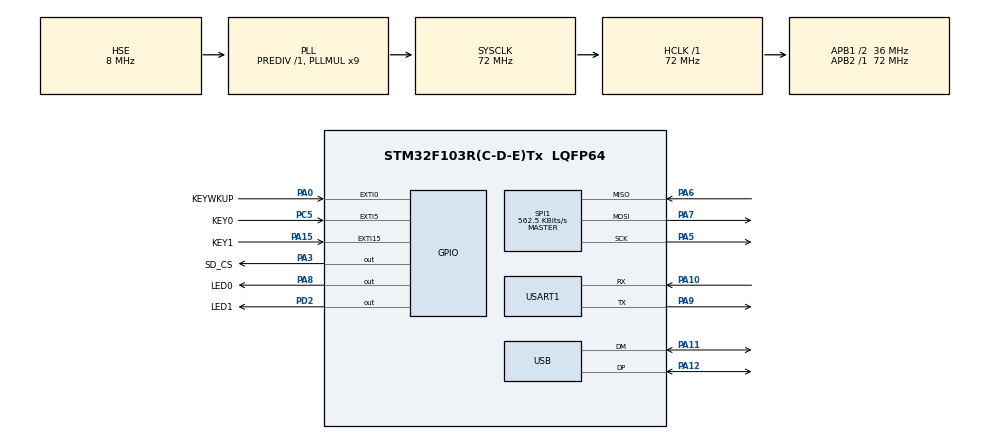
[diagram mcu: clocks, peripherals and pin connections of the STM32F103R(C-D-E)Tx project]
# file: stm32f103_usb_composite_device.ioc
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FATFS._MAX_LFN=96
FATFS._MAX_SS=2048
FATFS._MIN_SS=512
FATFS._USE_LFN=2
FATFS._USE_TRIM=1
Mcu.Family=STM32F1
Mcu.Name=STM32F103R(C-D-E)Tx
Mcu.Package=LQFP64
NVIC.EXTI0_IRQn=true\:0\:0\:false\:false\:true\:true\:true
NVIC.EXTI15_10_IRQn=true\:0\:0\:false\:false\:true\:true\:true
NVIC.EXTI9_5_IRQn=true\:0\:0\:false\:false\:true\:true\:true
NVIC.PriorityGroup=NVIC_PRIORITYGROUP_4
NVIC.TIM4_IRQn=true\:0\:0\:false\:false\:true\:true\:true
NVIC.USB_LP_CAN1_RX0_IRQn=true\:0\:0\:false\:false\:true\:false\:true
PA0-WKUP.GPIO_Label=KEYWKUP
PA0-WKUP.GPIO_ModeDefaultEXTI=GPIO_MODE_IT_RISING_FALLING
PA0-WKUP.GPIO_PuPd=GPIO_PULLDOWN
PA0-WKUP.Signal=GPXTI0
PA10.Mode=Asynchronous
PA10.Signal=USART1_RX
PA11.Mode=Device
PA11.Signal=USB_DM
PA12.Mode=Device
PA12.Signal=USB_DP
PA13.Mode=Serial_Wire
PA13.Signal=SYS_JTMS-SWDIO
PA14.Mode=Serial_Wire
PA14.Signal=SYS_JTCK-SWCLK
PA15.GPIO_Label=KEY1
PA15.GPIO_ModeDefaultEXTI=GPIO_MODE_IT_RISING_FALLING
PA15.GPIO_PuPd=GPIO_PULLUP
PA15.Signal=GPXTI15
PA3.GPIO_Label=SD_CS
PA3.Signal=GPIO_Output
PA5.Mode=Full_Duplex_Master
PA5.Signal=SPI1_SCK
PA6.Mode=Full_Duplex_Master
PA6.Signal=SPI1_MISO
PA7.Mode=Full_Duplex_Master
PA7.Signal=SPI1_MOSI
PA8.GPIO_Label=LED0
PA8.GPIO_ModeDefaultOutputPP=GPIO_MODE_OUTPUT_PP
PA8.GPIO_PuPd=GPIO_NOPULL
PA8.PinState=GPIO_PIN_SET
PA8.Signal=GPIO_Output
PA9.Mode=Asynchronous
PA9.Signal=USART1_TX
PC5.GPIO_Label=KEY0
PC5.GPIO_ModeDefaultEXTI=GPIO_MODE_IT_RISING_FALLING
PC5.GPIO_PuPd=GPIO_PULLUP
PC5.Signal=GPXTI5
PD0-OSC_IN.Mode=HSE-External-Oscillator
PD0-OSC_IN.Signal=RCC_OSC_IN
PD1-OSC_OUT.Mode=HSE-External-Oscillator
PD1-OSC_OUT.Signal=RCC_OSC_OUT
PD2.GPIO_Label=LED1
PD2.GPIO_ModeDefaultOutputPP=GPIO_MODE_OUTPUT_PP
PD2.PinState=GPIO_PIN_SET
PD2.Signal=GPIO_Output
ProjectManager.HeapSize=0x200
ProjectManager.StackSize=0x400
ProjectManager.TargetToolchain=STM32CubeIDE
RCC.AHBFreq_Value=72000000
RCC.APB1CLKDivider=RCC_HCLK_DIV2
RCC.APB1Freq_Value=36000000
RCC.APB1TimFreq_Value=72000000
RCC.APB2Freq_Value=72000000
RCC.APB2TimFreq_Value=72000000
RCC.HCLKFreq_Value=72000000
RCC.PLLMUL=RCC_PLL_MUL9
RCC.SYSCLKFreq_VALUE=72000000
RCC.SYSCLKSource=RCC_SYSCLKSOURCE_PLLCLK
RCC.USBFreq_Value=48000000
RCC.USBPrescaler=RCC_USBCLKSOURCE_PLL_DIV1_5
SPI1.BaudRatePrescaler=SPI_BAUDRATEPRESCALER_128
SPI1.CalculateBaudRate=562.5 KBits/s
SPI1.Direction=SPI_DIRECTION_2LINES
SPI1.Mode=SPI_MODE_MASTER
SPI1.VirtualType=VM_MASTER
TIM4.ClockDivision=TIM_CLOCKDIVISION_DIV1
TIM4.Period=999
TIM4.Prescaler=71
USART1.VirtualMode=VM_ASYNC
USB_DEVICE.CLASS_NAME_FS=CUSTOM_HID
USB_DEVICE.USBD_CUSTOMHID_OUTREPORT_BUF_SIZE=32
USB_DEVICE.USBD_CUSTOM_HID_REPORT_DESC_SIZE=39
USB_DEVICE.VirtualMode=CustomHid
USB_DEVICE.VirtualModeFS=Custom_Hid_FS
VP_FATFS_VS_Generic.Mode=User_defined
VP_TIM4_VS_ClockSourceINT.Mode=Internal
VP_USB_DEVICE_VS_USB_DEVICE_CUSTOM_HID_FS.Mode=CUSTOM_HID_FS
board=custom

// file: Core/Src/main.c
/* USER CODE BEGIN Header */
/**
  ******************************************************************************
  * @file           : main.c
  * @brief          : Main program body
  ******************************************************************************
  * @attention
  *
  * Copyright (c) 2022 STMicroelectronics.
  * All rights reserved.
  *
  * This software is licensed under terms that can be found in the LICENSE file
  * in the root directory of this software component.
  * If no LICENSE file comes with this software, it is provided AS-IS.
  *
  ******************************************************************************
  */
/* USER CODE END Header */
#include "main.h"
#include "fatfs.h"
#include "usb_device.h"

/* USER CODE BEGIN Includes */
#include <stdbool.h>
#include <stdio.h>
#include <stm32_printf.h>
//#include "usbd_cdc_if.h"
#include "usbd_storage_if.h"

#include "usbd_custom_hid_if.h"
#include "app_fatfs_utility.h"
/* USER CODE END Includes */

SPI_HandleTypeDef hspi1;

TIM_HandleTypeDef htim4;

UART_HandleTypeDef huart1;

/* USER CODE BEGIN PV */

//static FATFS s_fatfs; 	//Fatfs handle

/* USER CODE END PV */

void SystemClock_Config(void);
static void MX_GPIO_Init(void);
static void MX_USART1_UART_Init(void);
static void MX_TIM4_Init(void);
static void MX_SPI1_Init(void);
/* USER CODE BEGIN PFP */

int32_t s_led0_blinking_counter = 0;
int32_t s_led1_blinking_counter = 0;

void app_usbd_cdc_received(uint8_t* p_buf, uint32_t len)
{
	while(len)
	{
		s_led1_blinking_counter += 20;
		len /= 10;
	}

	HAL_GPIO_WritePin(LED1_GPIO_Port, LED1_Pin, GPIO_PIN_RESET);
	HAL_TIM_Base_Start_IT(&htim4);
}

void app_usbd_msc_read_callback(uint32_t number_of_block)
{
	s_led1_blinking_counter += 1 * number_of_block;
	HAL_GPIO_WritePin(LED1_GPIO_Port, LED1_Pin, GPIO_PIN_RESET);
	if(HAL_TIM_STATE_READY == htim4.State)
		HAL_TIM_Base_Start_IT(&htim4);
}

void app_usbd_msc_write_callback(uint32_t number_of_block)
{
	s_led0_blinking_counter += 1 * number_of_block;
	HAL_GPIO_WritePin(LED0_GPIO_Port, LED0_Pin, GPIO_PIN_RESET);
	if(HAL_TIM_STATE_READY == htim4.State)
		HAL_TIM_Base_Start_IT(&htim4);
}

/* USER CODE END PFP */

/* USER CODE BEGIN 0 */
void HAL_TIM_PeriodElapsedCallback(TIM_HandleTypeDef* htim)
{
	if (htim->Instance == htim4.Instance)
	{
		if(s_led0_blinking_counter > 0)
		{
			s_led0_blinking_counter--;

			if(0 >= s_led0_blinking_counter)
				HAL_GPIO_WritePin(LED0_GPIO_Port, LED0_Pin, GPIO_PIN_SET);
		}

		if(s_led1_blinking_counter > 0)
		{
			s_led1_blinking_counter--;

			if(0 >= s_led1_blinking_counter)
				HAL_GPIO_WritePin(LED1_GPIO_Port, LED1_Pin, GPIO_PIN_SET);
		}

		if(0 >= s_led0_blinking_counter
				&& 0 >= s_led1_blinking_counter)
		{
			HAL_TIM_Base_Stop_IT(&htim4);
		}
	}
}

uint16_t s_GPIO_Pin = 0x00;
bool s_is_GPIO_EXTI = false;

void HAL_GPIO_EXTI_Callback(uint16_t GPIO_Pin)
{
	s_GPIO_Pin = GPIO_Pin;
	s_is_GPIO_EXTI = true;
}

/* USER CODE END 0 */

int main(void)
{

  /* MCU Configuration--------------------------------------------------------*/

  /* Reset of all peripherals, Initializes the Flash interface and the Systick. */
  HAL_Init();

  /* Configure the system clock */
  SystemClock_Config();

  /* USER CODE BEGIN SysInit */

  //HAL_Delay(10);
  /* USER CODE END SysInit */

  /* Initialize all configured peripherals */
  MX_GPIO_Init();
  MX_USART1_UART_Init();
  MX_TIM4_Init();
  MX_SPI1_Init();
  MX_FATFS_Init();

  /* USER CODE BEGIN 2 */
  MX_USB_DEVICE_Init();

  PRINTF("STM32F103RCT6@%luMHz START...\r\n",
  			HAL_RCC_GetSysClockFreq() / 1000 / 1000);
  if(FR_NO_FILESYSTEM == app_fatfs_mount())
	  app_fatfs_format();
  uint32_t total_size_in_KB, free_size_in_KB;
  app_fatfs_get_free_space(&total_size_in_KB, &free_size_in_KB);

  PRINTF("free_size_in_KB = %lu, total_size_in_KB = %lu\r\n",
  			free_size_in_KB, total_size_in_KB);

  app_fatfs_print_all_files_attribute();
  /* USER CODE END 2 */

  /* Infinite loop */
  /* USER CODE BEGIN WHILE */
  uint32_t k = 0;

  while (1)
  {
    /* USER CODE END WHILE */

    /* USER CODE BEGIN 3 */
	  if (true == s_is_GPIO_EXTI)
	  {
		  switch (s_GPIO_Pin)
		  {
		  	  case KEY0_Pin: {
				if (GPIO_PIN_RESET == HAL_GPIO_ReadPin(KEY0_GPIO_Port, KEY0_Pin))
				{
					HAL_GPIO_WritePin(LED0_GPIO_Port, LED0_Pin, GPIO_PIN_RESET);
					PRINTF("KEY0 pushed\r\n");
					uint8_t customhid_data[USBD_CUSTOMHID_OUTREPORT_BUF_SIZE] = {0};
					memcpy(&customhid_data[0], &k, sizeof(uint32_t));
					USBD_CUSTOM_HID_Send(&customhid_data[0]);
					PRINTF("k = %u\r\n", k);
					k++;
				}
				else
				{
					HAL_GPIO_WritePin(LED0_GPIO_Port, LED0_Pin, GPIO_PIN_SET);
					PRINTF("KEY0 released\r\n");
				}
			}break;

			case KEY1_Pin: {
				if (GPIO_PIN_RESET == HAL_GPIO_ReadPin(KEY1_GPIO_Port, KEY1_Pin))
				{
					HAL_GPIO_WritePin(LED1_GPIO_Port, LED1_Pin, GPIO_PIN_RESET);
					PRINTF("KEY1 pushed\r\n");
				}
				else
				{
					HAL_GPIO_WritePin(LED1_GPIO_Port, LED1_Pin, GPIO_PIN_SET);
					PRINTF("KEY1 released\r\n");
				}
			}break;

			case KEYWKUP_Pin: {
				if (GPIO_PIN_RESET == HAL_GPIO_ReadPin(KEYWKUP_GPIO_Port, KEYWKUP_Pin))
				{
					PRINTF("KEYWKUP released\r\n");
				}
				else
				{
					PRINTF("KEYWKUP pushed\r\n");
				}
			}break;
		  }

		  s_is_GPIO_EXTI = false;
	  }

	  HAL_Delay(10);
  }
  /* USER CODE END 3 */
}

void SystemClock_Config(void)
{
  RCC_OscInitTypeDef RCC_OscInitStruct = {0};
  RCC_ClkInitTypeDef RCC_ClkInitStruct = {0};
  RCC_PeriphCLKInitTypeDef PeriphClkInit = {0};

  /** Initializes the RCC Oscillators according to the specified parameters
  * in the RCC_OscInitTypeDef structure.
  */
  RCC_OscInitStruct.OscillatorType = RCC_OSCILLATORTYPE_HSE;
  RCC_OscInitStruct.HSEState = RCC_HSE_ON;
  RCC_OscInitStruct.HSEPredivValue = RCC_HSE_PREDIV_DIV1;
  RCC_OscInitStruct.HSIState = RCC_HSI_ON;
  RCC_OscInitStruct.PLL.PLLState = RCC_PLL_ON;
  RCC_OscInitStruct.PLL.PLLSource = RCC_PLLSOURCE_HSE;
  RCC_OscInitStruct.PLL.PLLMUL = RCC_PLL_MUL9;
  if (HAL_RCC_OscConfig(&RCC_OscInitStruct) != HAL_OK)
  {
    Error_Handler();
  }
  /** Initializes the CPU, AHB and APB buses clocks
  */
  RCC_ClkInitStruct.ClockType = RCC_CLOCKTYPE_HCLK|RCC_CLOCKTYPE_SYSCLK
                              |RCC_CLOCKTYPE_PCLK1|RCC_CLOCKTYPE_PCLK2;
  RCC_ClkInitStruct.SYSCLKSource = RCC_SYSCLKSOURCE_PLLCLK;
  RCC_ClkInitStruct.AHBCLKDivider = RCC_SYSCLK_DIV1;
  RCC_ClkInitStruct.APB1CLKDivider = RCC_HCLK_DIV2;
  RCC_ClkInitStruct.APB2CLKDivider = RCC_HCLK_DIV1;

  if (HAL_RCC_ClockConfig(&RCC_ClkInitStruct, FLASH_LATENCY_2) != HAL_OK)
  {
    Error_Handler();
  }
  PeriphClkInit.PeriphClockSelection = RCC_PERIPHCLK_USB;
  PeriphClkInit.UsbClockSelection = RCC_USBCLKSOURCE_PLL_DIV1_5;
  if (HAL_RCCEx_PeriphCLKConfig(&PeriphClkInit) != HAL_OK)
  {
    Error_Handler();
  }
}

static void MX_SPI1_Init(void)
{

  /* SPI1 parameter configuration*/
  hspi1.Instance = SPI1;
  hspi1.Init.Mode = SPI_MODE_MASTER;
  hspi1.Init.Direction = SPI_DIRECTION_2LINES;
  hspi1.Init.DataSize = SPI_DATASIZE_8BIT;
  hspi1.Init.CLKPolarity = SPI_POLARITY_LOW;
  hspi1.Init.CLKPhase = SPI_PHASE_1EDGE;
  hspi1.Init.NSS = SPI_NSS_SOFT;
  hspi1.Init.BaudRatePrescaler = SPI_BAUDRATEPRESCALER_128;
  hspi1.Init.FirstBit = SPI_FIRSTBIT_MSB;
  hspi1.Init.TIMode = SPI_TIMODE_DISABLE;
  hspi1.Init.CRCCalculation = SPI_CRCCALCULATION_DISABLE;
  hspi1.Init.CRCPolynomial = 10;
  if (HAL_SPI_Init(&hspi1) != HAL_OK)
  {
    Error_Handler();
  }

}

static void MX_TIM4_Init(void)
{

  TIM_ClockConfigTypeDef sClockSourceConfig = {0};
  TIM_MasterConfigTypeDef sMasterConfig = {0};

  htim4.Instance = TIM4;
  htim4.Init.Prescaler = 71;
  htim4.Init.CounterMode = TIM_COUNTERMODE_UP;
  htim4.Init.Period = 999;
  htim4.Init.ClockDivision = TIM_CLOCKDIVISION_DIV1;
  htim4.Init.AutoReloadPreload = TIM_AUTORELOAD_PRELOAD_DISABLE;
  if (HAL_TIM_Base_Init(&htim4) != HAL_OK)
  {
    Error_Handler();
  }
  sClockSourceConfig.ClockSource = TIM_CLOCKSOURCE_INTERNAL;
  if (HAL_TIM_ConfigClockSource(&htim4, &sClockSourceConfig) != HAL_OK)
  {
    Error_Handler();
  }
  sMasterConfig.MasterOutputTrigger = TIM_TRGO_RESET;
  sMasterConfig.MasterSlaveMode = TIM_MASTERSLAVEMODE_DISABLE;
  if (HAL_TIMEx_MasterConfigSynchronization(&htim4, &sMasterConfig) != HAL_OK)
  {
    Error_Handler();
  }

}

static void MX_USART1_UART_Init(void)
{

  huart1.Instance = USART1;
  huart1.Init.BaudRate = 115200;
  huart1.Init.WordLength = UART_WORDLENGTH_8B;
  huart1.Init.StopBits = UART_STOPBITS_1;
  huart1.Init.Parity = UART_PARITY_NONE;
  huart1.Init.Mode = UART_MODE_TX_RX;
  huart1.Init.HwFlowCtl = UART_HWCONTROL_NONE;
  huart1.Init.OverSampling = UART_OVERSAMPLING_16;
  if (HAL_UART_Init(&huart1) != HAL_OK)
  {
    Error_Handler();
  }

}

static void MX_GPIO_Init(void)
{
  GPIO_InitTypeDef GPIO_InitStruct = {0};

  /* GPIO Ports Clock Enable */
  __HAL_RCC_GPIOD_CLK_ENABLE();
  __HAL_RCC_GPIOA_CLK_ENABLE();
  __HAL_RCC_GPIOC_CLK_ENABLE();

  /*Configure GPIO pin Output Level */
  HAL_GPIO_WritePin(SD_CS_GPIO_Port, SD_CS_Pin, GPIO_PIN_RESET);

  /*Configure GPIO pin Output Level */
  HAL_GPIO_WritePin(LED0_GPIO_Port, LED0_Pin, GPIO_PIN_SET);

  /*Configure GPIO pin Output Level */
  HAL_GPIO_WritePin(LED1_GPIO_Port, LED1_Pin, GPIO_PIN_SET);

  /*Configure GPIO pin : KEYWKUP_Pin */
  GPIO_InitStruct.Pin = KEYWKUP_Pin;
  GPIO_InitStruct.Mode = GPIO_MODE_IT_RISING_FALLING;
  GPIO_InitStruct.Pull = GPIO_PULLDOWN;
  HAL_GPIO_Init(KEYWKUP_GPIO_Port, &GPIO_InitStruct);

  /*Configure GPIO pins : SD_CS_Pin LED0_Pin */
  GPIO_InitStruct.Pin = SD_CS_Pin|LED0_Pin;
  GPIO_InitStruct.Mode = GPIO_MODE_OUTPUT_PP;
  GPIO_InitStruct.Pull = GPIO_NOPULL;
  GPIO_InitStruct.Speed = GPIO_SPEED_FREQ_LOW;
  HAL_GPIO_Init(GPIOA, &GPIO_InitStruct);

  /*Configure GPIO pin : KEY0_Pin */
  GPIO_InitStruct.Pin = KEY0_Pin;
  GPIO_InitStruct.Mode = GPIO_MODE_IT_RISING_FALLING;
  GPIO_InitStruct.Pull = GPIO_PULLUP;
  HAL_GPIO_Init(KEY0_GPIO_Port, &GPIO_InitStruct);

  /*Configure GPIO pin : KEY1_Pin */
  GPIO_InitStruct.Pin = KEY1_Pin;
  GPIO_InitStruct.Mode = GPIO_MODE_IT_RISING_FALLING;
  GPIO_InitStruct.Pull = GPIO_PULLUP;
  HAL_GPIO_Init(KEY1_GPIO_Port, &GPIO_InitStruct);

  /*Configure GPIO pin : LED1_Pin */
  GPIO_InitStruct.Pin = LED1_Pin;
  GPIO_InitStruct.Mode = GPIO_MODE_OUTPUT_PP;
  GPIO_InitStruct.Pull = GPIO_NOPULL;
  GPIO_InitStruct.Speed = GPIO_SPEED_FREQ_LOW;
  HAL_GPIO_Init(LED1_GPIO_Port, &GPIO_InitStruct);

  /* EXTI interrupt init*/
  HAL_NVIC_SetPriority(EXTI0_IRQn, 0, 0);
  HAL_NVIC_EnableIRQ(EXTI0_IRQn);

  HAL_NVIC_SetPriority(EXTI9_5_IRQn, 0, 0);
  HAL_NVIC_EnableIRQ(EXTI9_5_IRQn);

  HAL_NVIC_SetPriority(EXTI15_10_IRQn, 0, 0);
  HAL_NVIC_EnableIRQ(EXTI15_10_IRQn);

}

void Error_Handler(void)
{
  __disable_irq();
  while (1)
  {
  }
}
